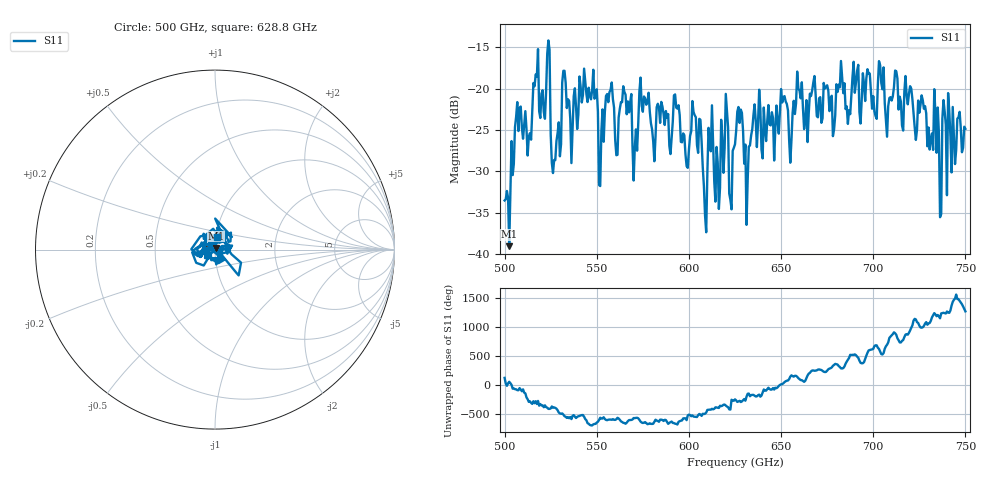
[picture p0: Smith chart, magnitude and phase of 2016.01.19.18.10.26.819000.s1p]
!Created with skrf (http://scikit-rf.org).
# GHz S RI R 50.0
!freq ReS11 ImS11
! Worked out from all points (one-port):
!   401 points, 500 GHz to 750 GHz, reference 50 ohm
!   lowest |S11| = -39.0 dB at 502.5 GHz (marker M1), VSWR 1.02, Z = 50.6 + j0.965 ohm
!   |S11| at or under -10 dB: start of sweep to end of sweep
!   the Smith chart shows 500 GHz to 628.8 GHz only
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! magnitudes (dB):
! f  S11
! 500 GHz  -33.5
! 502.5 GHz  -39.0
! 506.9 GHz  -21.6
! 513.1 GHz  -25.8
! 516.9 GHz  -18.3
! 523.8 GHz  -14.2
! 526.9 GHz  -28.6
! 531.2 GHz  -19.3
! 548.8 GHz  -21.2
! 552.5 GHz  -25.2
! 556.9 GHz  -20.4
! 562.5 GHz  -22.4
! 593.8 GHz  -22.4
! 598.8 GHz  -29.4
! 603.1 GHz  -23.2
! 608.8 GHz  -35.3
! 611.9 GHz  -27.6
! 615.6 GHz  -28.9
! 625 GHz  -26.7
! 631.2 GHz  -36.4
! 636.9 GHz  -27.1
! 656.2 GHz  -22.9
! 660 GHz  -20.2
! 687.5 GHz  -23.1
! 718.8 GHz  -21.9
! 734.4 GHz  -27.7
! 735.6 GHz  -25.4
! 750 GHz  -24.9
